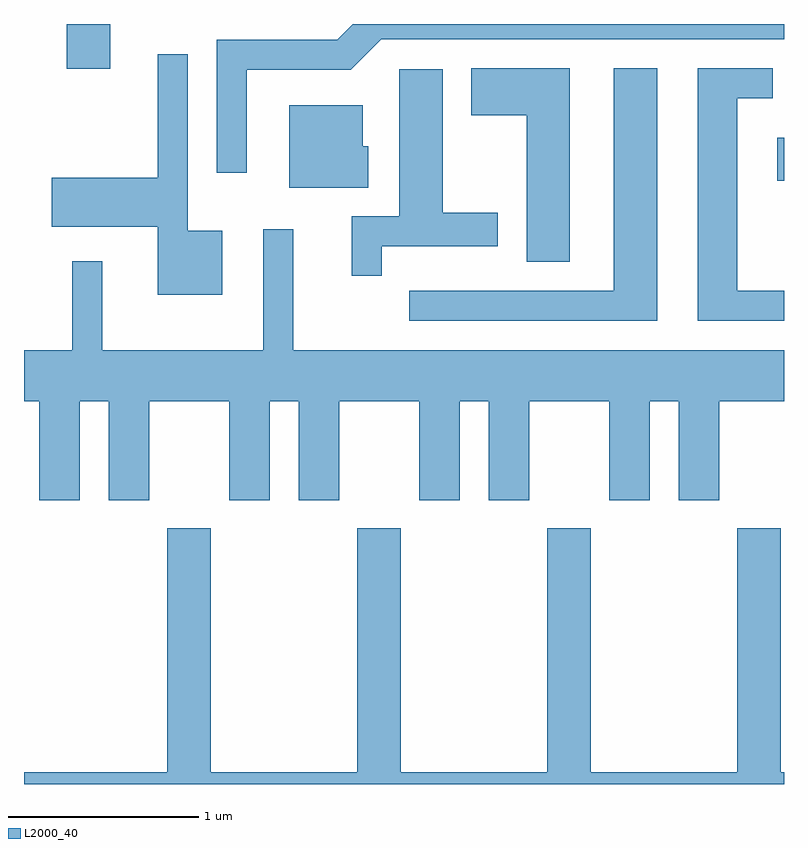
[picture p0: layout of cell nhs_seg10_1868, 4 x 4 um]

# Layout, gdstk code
import gdstk
lib = gdstk.Library(unit=1e-6, precision=1e-09)
def R(c, l, rs):  # rectangles x0, y0, x1, y1
    for r in rs: c.add(gdstk.rectangle(r[:2], r[2:], *l))
def P(c, l, *ps):  # polygons
    for p in ps: c.add(gdstk.Polygon(p, *l))
L2000_40 = (2000, 40)

nhs_seg10_1868 = lib.new_cell('nhs_seg10_1868')
R(nhs_seg10_1868, L2000_40, [(243.576,2161.696,243.611,2161.924), (239.836,2162.286,240.064,2162.522)])
P(nhs_seg10_1868, L2000_40, [(240.784,2162.281),(241.332,2162.281),(241.492,2162.441),(243.611,2162.441),(243.611,2162.522),(241.342,2162.522),(241.259,2162.439),(240.626,2162.439),(240.626,2161.738),(240.784,2161.738)],
  [(240.654,2161.434),(240.474,2161.434),(240.474,2162.363),(240.316,2162.363),(240.316,2161.714),(239.756,2161.714),(239.756,2161.456),(240.316,2161.456),(240.316,2161.096),(240.654,2161.096)],
  [(243.611,2161.119),(243.364,2161.119),(243.364,2162.131),(243.553,2162.131),(243.553,2162.289),(243.156,2162.289),(243.156,2160.961),(243.611,2160.961)],
  [(242.944,2162.289),(242.716,2162.289),(242.716,2161.119),(241.638,2161.119),(241.638,2160.961),(242.944,2160.961)],
  [(242.484,2162.289),(241.966,2162.289),(241.966,2162.041),(242.256,2162.041),(242.256,2161.271),(242.484,2161.271)],
  [(241.494,2161.351),(242.104,2161.351),(242.104,2161.529),(241.814,2161.529),(241.814,2162.284),(241.586,2162.284),(241.586,2161.509),(241.336,2161.509),(241.336,2161.198),(241.494,2161.198)],
  [(241.424,2161.879),(241.394,2161.879),(241.394,2162.094),(241.006,2162.094),(241.006,2161.661),(241.424,2161.661)],
  [(239.904,2160.536),(240.056,2160.536),(240.056,2160.016),(240.269,2160.016),(240.269,2160.536),(240.691,2160.536),(240.691,2160.016),(240.904,2160.016),(240.904,2160.536),(241.056,2160.536),(241.056,2160.016),(241.269,2160.016),(241.269,2160.536),(241.691,2160.536),(241.691,2160.016),(241.904,2160.016),(241.904,2160.536),(242.056,2160.536),(242.056,2160.016),(242.269,2160.016),(242.269,2160.536),(242.691,2160.536),(242.691,2160.016),(242.904,2160.016),(242.904,2160.536),(243.056,2160.536),(243.056,2160.016),(243.269,2160.016),(243.269,2160.536),(243.611,2160.536),(243.611,2160.804),(241.029,2160.804),(241.029,2161.443),(240.871,2161.443),(240.871,2160.804),(240.024,2160.804),(240.024,2161.273),(239.866,2161.273),(239.866,2160.804),(239.611,2160.804),(239.611,2160.536),(239.691,2160.536),(239.691,2160.016),(239.904,2160.016)],
  [(243.611,2158.584),(243.594,2158.584),(243.594,2159.869),(243.366,2159.869),(243.366,2158.584),(242.594,2158.584),(242.594,2159.869),(242.366,2159.869),(242.366,2158.584),(241.594,2158.584),(241.594,2159.869),(241.366,2159.869),(241.366,2158.584),(240.594,2158.584),(240.594,2159.869),(240.366,2159.869),(240.366,2158.584),(239.611,2158.584),(239.611,2158.522),(243.611,2158.522)])

lib.write_gds('nhs_seg10_1868.gds')
